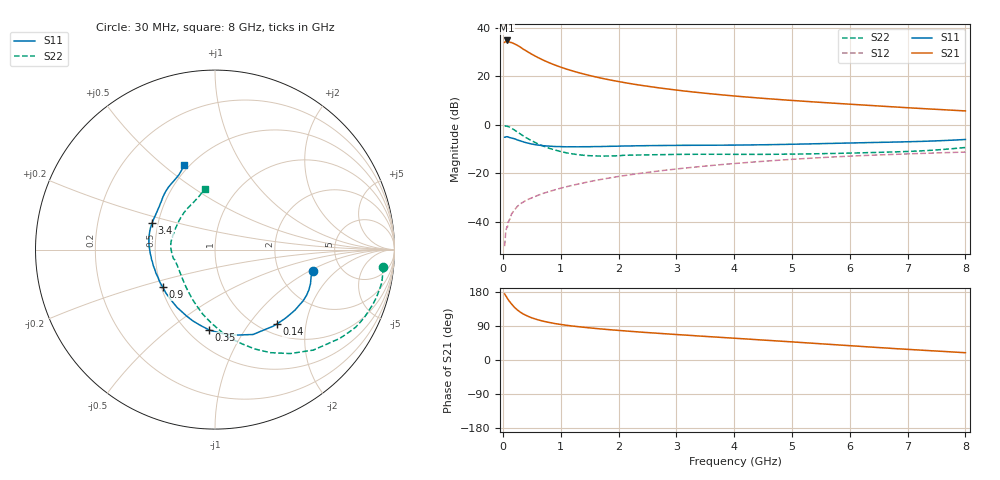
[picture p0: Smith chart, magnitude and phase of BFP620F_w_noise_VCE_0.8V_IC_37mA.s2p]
! Infineon Technologies  Discrete & RF Semiconductors
! BFP620F
! VCE =  0.8 V,  IC =  37 mA
! Common Emitter S-Parameters:  Dec 2014
# GHz  S  MA  R  50
!  f  S11  S21  S12  S22
! GHz  MAG  ANG  MAG  ANG  MAG  ANG  MAG  ANG
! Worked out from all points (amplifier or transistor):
!   95 points, 30 MHz to 8 GHz, reference 50 ohm
!   highest |S21| = 34.7 dB at 70 MHz (marker M1)
!   |S21| within 3 dB of that: start of sweep to 318.2 MHz
!   unconditionally stable (mu >= 1): 2.171 GHz to end of sweep
!   at 300 MHz: K = 0.43, MSG = 32.3 dB, |S12| = -32.5 dB
!   at 3.3 GHz: K = 1.03, MAG = 14.5 dB, |S12| = -17.4 dB
!   at 8 GHz: K = 1.06, MAG = 7.0 dB, |S12| = -11.2 dB
!   lowest NFmin = 1.29 dB at 450 MHz
!   S11 on the Smith chart (normalised r, x): 30 MHz: 3.12, -1.06; 140 MHz: 1.18, -1.38; 350 MHz: 0.63, -0.71; 900 MHz: 0.51, -0.24; 3.4 GHz: 0.46, +0.16; 8 GHz: 0.47, +0.59
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0.03  0.5569 -12.1  49.84 174.3  0.0032 90.4  0.942 -6.0
0.06  0.5691 -23.2  53.93 167.3  0.0072 79.4  0.9423 -13.8
0.07  0.5702 -26.4  54.42 164.6  0.008 87.5  0.9384 -16.3
0.09  0.562 -33.7  53.21 159.7  0.0101 76.9  0.9223 -21.6
0.12  0.5481 -44.2  50.04 153.5  0.0113 75.8  0.8944 -29.0
0.14  0.5391 -50.3  49.38 149.6  0.0136 74.3  0.8645 -33.6
0.2  0.5181 -65.9  46.33 139.1  0.0177 67.9  0.7835 -45.6
0.25  0.4903 -76.4  43.3 132.2  0.021 67.1  0.715 -54.1
0.3  0.4688 -85.4  39.88 126.4  0.0237 64.2  0.6522 -61.7
0.35  0.449 -94.1  36.26 121.6  0.0257 62.2  0.5971 -68.1
0.45  0.4167 -106.9  30.77 114.3  0.0298 60.9  0.5071 -79.3
0.6  0.3852 -123.2  24.46 106.3  0.0353 60.2  0.4096 -92.9
0.7  0.3724 -131.4  21.39 102.3  0.0391 60.5  0.3658 -100.8
0.9  0.3586 -144.4  17 96.2  0.0461 61.1  0.3038 -114.5
1.4  0.3553 -165.3  11.1 86.3  0.0642 61.8  0.2367 -143.0
1.9  0.3627 -178.4  8.186 79.3  0.083 60.8  0.2296 -163.4
2.7  0.3758 167.1  5.768 70.3  0.1126 57.2  0.2436 -178.9
3.4  0.3803 157.1  4.6 63.2  0.1383 53.2  0.2487 172.5
4.1  0.3845 148.5  3.837 56.5  0.1636 48.7  0.2474 164.0
5.4  0.4086 135.9  2.953 43.8  0.2087 39.1  0.2543 144.3
6.7  0.4408 123.4  2.365 30.9  0.2455 28.7  0.2764 123.5
8  0.5002 110.4  1.936 19.2  0.2756 18.6  0.3422 99.5
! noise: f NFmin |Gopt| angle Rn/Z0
0.45  1.29  0.13  -172  0.16
0.9  1.32  0.13  -172  0.13
1.5  1.33  0.17  -151  0.11
1.8  1.34  0.18  -151  0.12
1.9  1.35  0.18  -150  0.12
2.4  1.37  0.19  215  0.14
3.5  1.43  0.19  219  0.18
5.5  1.57  0.25  245  0.16
6  1.61  0.26  261  0.18
